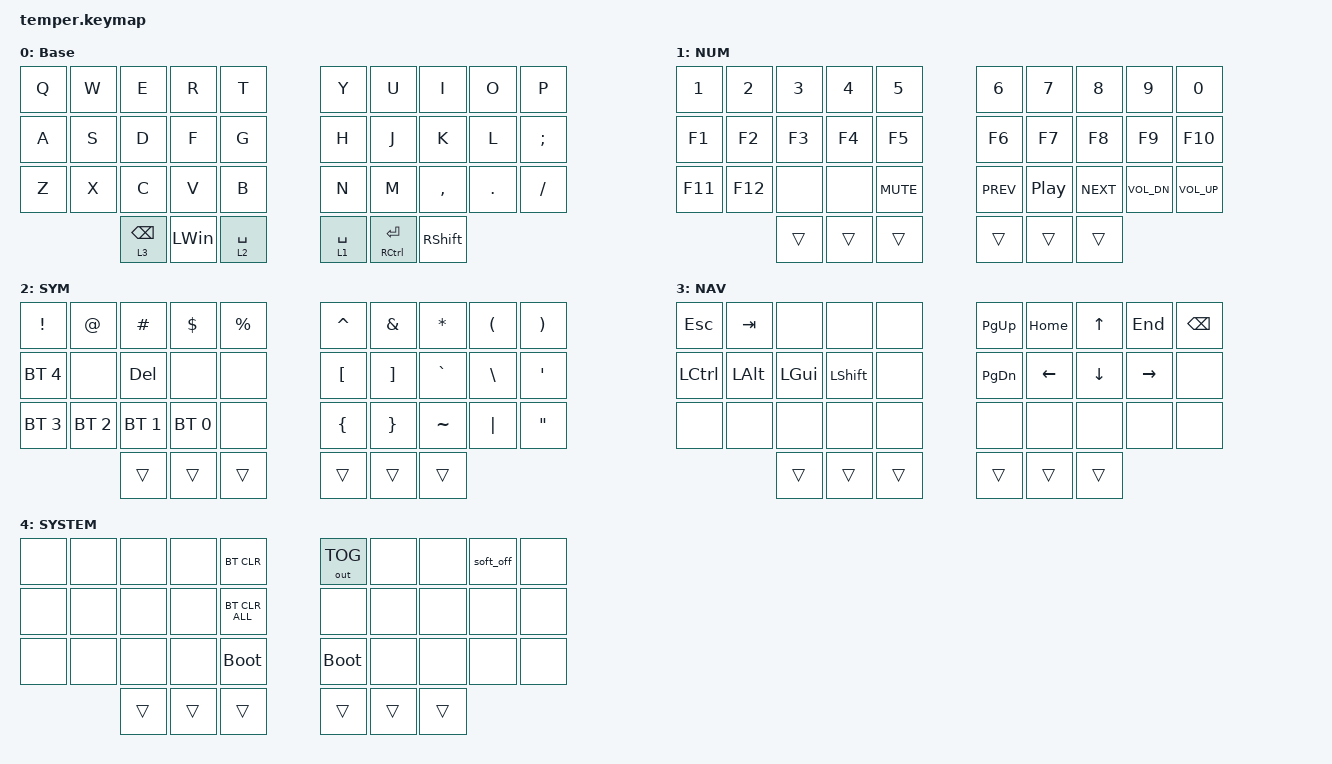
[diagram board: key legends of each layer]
/*
 * Copyright (c) 2020 duckyb
 *
 * SPDX-License-Identifier: MIT
 */

#include <dt-bindings/zmk/mouse.h>
#include <behaviors.dtsi>
#include <dt-bindings/zmk/bt.h>
#include <dt-bindings/zmk/keys.h>
#include <dt-bindings/zmk/outputs.h>

#define Base 0
#define NAV_NUM 1
#define SYM 2
#define FUN 3

&sk { quick-release; };

/* Has to be held this long, so a stray press in a pocket can't turn it off */
&soft_off { hold-time-ms = <2000>; };

/* Balanced so rolling off Enter into the next letter doesn't send Ctrl+letter */
&mt { flavor = "balanced"; };

/*
 * Balanced so a fast roll off a thumb stays a tap, and the idle check so a thumb pressed
 * mid-typing taps straight away instead of waiting to see if it's a hold.
 */
&lt {
    flavor = "balanced";
    quick-tap-ms = <180>;
    require-prior-idle-ms = <125>;
};

/ {
    behaviors {
        hm: hm {
            compatible = "zmk,behavior-hold-tap";
            label = "HM";
            bindings = <&kp>, <&kp>;

            #binding-cells = <2>;
            quick-tap-ms = <170>;
            tapping-term-ms = <190>;
            global-quick-tap;
            flavor = "tap-preferred";
        };

        hml: hml {
            compatible = "zmk,behavior-hold-tap";
            label = "HML";
            bindings = <&kp>, <&kp>;

            #binding-cells = <2>;
            tapping-term-ms = <280>;
            quick-tap-ms = <175>;
            require-prior-idle-ms = <150>;
            flavor = "balanced";
            hold-trigger-on-release;
            hold-trigger-key-positions = <0 1 2 3 4 20 21 22 23 24 14 30 31 32 33 34 35 25 15 5 6 16 26 27 17 7 8 18 28 29 19 9>;
        };

        hmr: hmr {
            compatible = "zmk,behavior-hold-tap";
            label = "HMR";
            bindings = <&kp>, <&kp>;

            #binding-cells = <2>;
            tapping-term-ms = <280>;
            quick-tap-ms = <175>;
            require-prior-idle-ms = <150>;
            flavor = "balanced";
            hold-trigger-on-release;
            hold-trigger-key-positions = <0 10 20 21 1 11 12 2 3 4 24 14 13 23 22 30 31 32 33 34 35 25 26 28 27 29 9 8 7 6 5 15>;
        };

        mo_tog: mo_tog {
            compatible = "zmk,behavior-hold-tap";
            label = "MO_TOG";
            bindings = <&mo>, <&tog>;

            #binding-cells = <2>;
            tapping-term-ms = <200>;
            quick-tap-ms = <180>;
        };
    };

    combos {
        compatible = "zmk,combos";

        a {
            bindings = <&kp ENTER>;
            key-positions = <7 6>;
            layers = <0>;
            timeout-ms = <30>;
        };

        b {
            bindings = <&kp TAB>;
            key-positions = <21 22>;
            layers = <0>;
            timeout-ms = <30>;
        };

        c {
            bindings = <&kp BACKSPACE>;
            key-positions = <7 8>;
            layers = <0>;
            timeout-ms = <30>;
        };

        d {
            bindings = <&kp ESC>;
            key-positions = <1 2>;
            layers = <0>;
        };

        e {
            bindings = <&kp MINUS>;
            key-positions = <16 17>;
            layers = <0>;
        };

        f {
            bindings = <&kp EQUAL>;
            key-positions = <17 18>;
            layers = <0>;
        };

        g {
            bindings = <&kp CLCK>;
            key-positions = <11 12>;
            layers = <0>;
        };

        h {
            bindings = <&kp BACKSPACE>;
            key-positions = <9 8>;
            layers = <0>;
        };
    };

    /* Holding both Space thumbs opens SYSTEM, so its keys can't be hit by a fast roll */
    conditional_layers {
        compatible = "zmk,conditional-layers";

        system_layer {
            if-layers = <1 2>;
            then-layer = <4>;
        };
    };

    keymap {
        compatible = "zmk,keymap";

        base {
            label = "Base";
            display-name = "Base";
            bindings = <
  &kp Q  &kp W  &kp E                   &kp R        &kp T                 &kp Y        &kp U      &kp I      &kp O    &kp P
  &kp A  &kp S  &kp D                   &kp F        &kp G                 &kp H        &kp J      &kp K      &kp L    &kp SEMI
  &kp Z  &kp X  &kp C                   &kp V        &kp B                 &kp N        &kp M      &kp COMMA  &kp DOT  &kp FSLH
                &lt 3 BACKSPACE         &kp LEFT_WIN  &lt 2 SPACE          &lt 1 SPACE  &mt RCTRL ENTER  &kp RSHFT
            >;
        };

        nav_num {
            display-name = "NUM";
            label = "NUM";
            bindings = <
  &kp N1   &kp N2   &kp N3  &kp N4  &kp N5        &kp N6      &kp N7     &kp N8      &kp N9       &kp N0
  &kp F1   &kp F2   &kp F3  &kp F4  &kp F5        &kp F6      &kp F7     &kp F8      &kp F9       &kp F10
  &kp F11  &kp F12  &none   &none   &kp C_MUTE    &kp C_PREV  &kp C_PP   &kp C_NEXT  &kp C_VOL_DN &kp C_VOL_UP
                    &trans  &trans  &trans        &trans      &trans     &trans
            >;
        };

        sym {
            label = "SYM";
            display-name = "SYM";
            bindings = <
  &kp EXCLAMATION  &kp AT        &kp HASH      &kp DOLLAR    &kp PERCENT       &kp CARET  &kp AMPERSAND  &kp ASTERISK  &kp LEFT_PARENTHESIS  &kp RIGHT_PARENTHESIS
  &bt BT_SEL 4     &none         &kp DELETE    &none         &none             &kp LBKT   &kp RBKT       &kp GRAVE     &kp BSLH              &kp SQT
  &bt BT_SEL 3     &bt BT_SEL 2  &bt BT_SEL 1  &bt BT_SEL 0  &none             &kp LBRC   &kp RBRC       &kp TILDE     &kp PIPE              &kp DQT
                                 &trans        &trans        &trans            &trans     &trans         &trans
            >;
        };

        layer_3 {
            display-name = "NAV";
            bindings = <
  &kp ESC    &kp TAB   &none     &none      &none    &kp PG_UP  &kp HOME  &kp UP    &kp END    &kp BACKSPACE
  &kp LCTRL  &kp LALT  &kp LGUI  &kp LSHFT  &none    &kp PG_DN  &kp LEFT  &kp DOWN  &kp RIGHT  &none
  &none      &none     &none     &none      &none    &none      &none     &none     &none      &none
                       &trans    &trans     &trans   &trans     &trans    &trans
            >;
        };

        /* &bootloader runs on the half the key is on: B for left, N for right */
        system {
            display-name = "SYSTEM";
            bindings = <
  &none  &none  &none   &none   &bt BT_CLR         &out OUT_TOG &none   &none  &soft_off  &none
  &none  &none  &none   &none   &bt BT_CLR_ALL     &none        &none   &none  &none  &none
  &none  &none  &none   &none   &bootloader        &bootloader  &none   &none  &none  &none
                &trans  &trans  &trans             &trans       &trans  &trans
            >;
        };
    };
};
